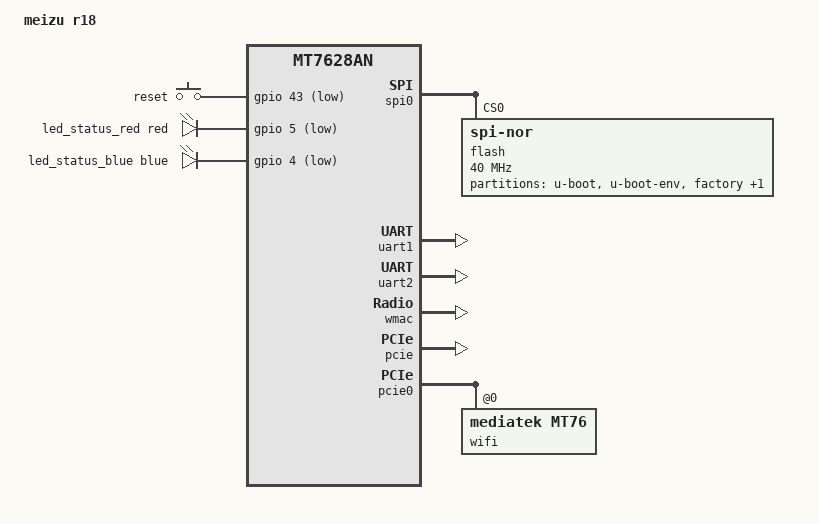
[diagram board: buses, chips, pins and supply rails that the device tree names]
#include "mt7628an.dtsi"

#include <dt-bindings/gpio/gpio.h>
#include <dt-bindings/input/input.h>
#include <dt-bindings/leds/common.h>

/ {
	compatible = "meizu,r18", "mediatek,mt7628an-soc";
	model = "meizu r18";

	aliases {
		led-boot = &led_status_blue;
		led-running = &led_status_blue;
		led-failsafe = &led_status_red;
		led-upgrade = &led_status_red;
		label-mac-device = &ethernet;
	};

	chosen {
		bootargs = "console=ttyS0,115200";
	};

	keys {
		compatible = "gpio-keys";

		reset {
			label = "reset";
			linux,code = <KEY_RESTART>;
			gpios = <&gpio 43 GPIO_ACTIVE_LOW>;
		};
	};

	leds {
		compatible = "gpio-leds";

		led_status_red: status_red {
			function = LED_FUNCTION_POWER;
			color = <LED_COLOR_ID_RED>;
			gpios = <&gpio 5 GPIO_ACTIVE_LOW>;
		};

		led_status_blue: status_blue {
			function = LED_FUNCTION_STATUS;
			color = <LED_COLOR_ID_BLUE>;
			gpios = <&gpio 4 GPIO_ACTIVE_LOW>;
		};
	};
};

&spi0 {
	status = "okay";

	flash@0 {
		compatible = "jedec,spi-nor";
		reg = <0>;
		spi-max-frequency = <40000000>;

		partitions {
			compatible = "fixed-partitions";
			#address-cells = <1>;
			#size-cells = <1>;

			partition@0 {
				label = "u-boot";
				reg = <0x00000 0x30000>;
				read-only;
			};

			partition@30000 {
				label = "u-boot-env";
				reg = <0x30000 0x10000>;
				read-only;
			};

			partition@40000 {
				label = "factory";
				reg = <0x40000 0x10000>;
				read-only;

				nvmem-layout {
					compatible = "fixed-layout";
					#address-cells = <1>;
					#size-cells = <1>;

					eeprom_factory_0: eeprom@0 {
						reg = <0x0 0x400>;
					};

					eeprom_factory_8000: eeprom@8000 {
						reg = <0x8000 0x200>;
					};

					macaddr_factory_e000: macaddr@e000 {
						compatible = "mac-base";
						reg = <0xe000 0x6>;
						#nvmem-cell-cells = <1>;
					};
				};
			};

			partition@50000 {
				compatible = "denx,uimage";
				label = "firmware";
				reg = <0x50000 0xfb0000>;
			};

		};
	};
};

&state_default {
	gpio {
		groups = "i2c", "gpio", "wdt";
		function = "gpio";
	};
};

&uart1 {
	status = "okay";
};

&uart2 {
	status = "okay";
};

&ethernet {
	nvmem-cells = <&macaddr_factory_e000 0>;
	nvmem-cell-names = "mac-address";
};

&esw {
	mediatek,portmap = <0x5a>;
	mediatek,portdisable = <0x25>;
};

&wmac {
	status = "okay";
	nvmem-cells = <&eeprom_factory_0>, <&macaddr_factory_e000 0>;
	nvmem-cell-names = "eeprom", "mac-address";
};

&pcie {
	status = "okay";
};

&pcie0 {
	wifi@0,0 {
		compatible = "mediatek,mt76";
		reg = <0x0000 0 0 0 0>;
		nvmem-cells = <&eeprom_factory_8000>, <&macaddr_factory_e000 1>;
		nvmem-cell-names = "eeprom", "mac-address";
		ieee80211-freq-limit = <5000000 6000000>;
	};
};
